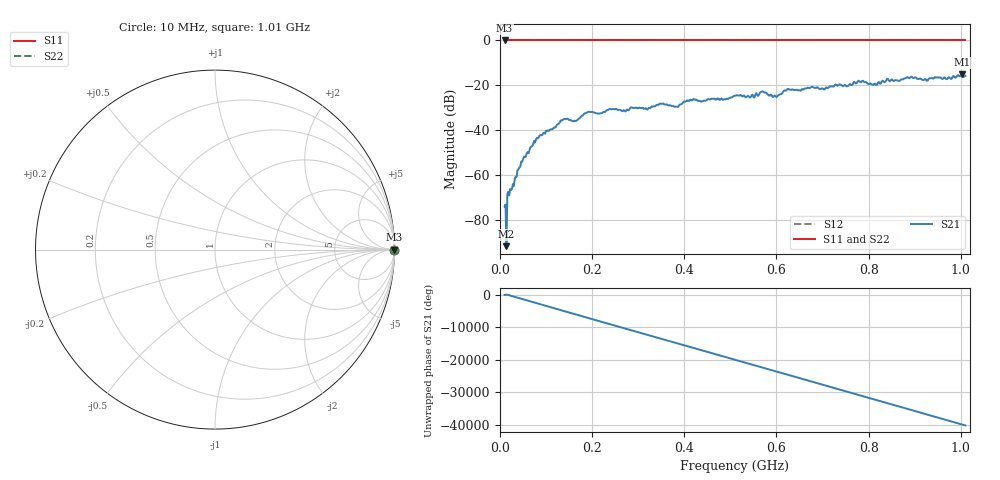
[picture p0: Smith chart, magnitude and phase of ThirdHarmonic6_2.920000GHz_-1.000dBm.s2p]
! 8/17/2025 8:07:30 AM
! C:\ANRITSUVNA\TEMP\TEMP.S2P
! CHANNEL.1
! TR.MEASUREMENT
! RAW.DATA
! RF.CORRECTION.OFF
! AVERAGING.OFF
! IF.BANDWIDTH: 5KHZ
! SWEEPTYPE:  FREQ.SWEEP(Linear)
! Reference Plane Port Info
! PORT:  PORT1  PORT2
! DISTANCE:  0  m  0  m
! TIME:  0  s  0  s
! PHASE.OFFSET:  0  deg.  0  deg.
! LOSS:  0  dB  0  dB
! REF.LOSS:  0  dB  0  dB
! REF.FREQ:  0  Hz  0  Hz
! Power Info
! POWER:  -20  dBm  -20  dBm
! EFF.POWER:  -20  dBm  -20  dBm
! SOURCE.ATTEN:  0  dB  0  dB
! TEST.ATTEN:  0  dB  0  dB
# GHZ S RI R 50.0
! FREQ.GHZ  S11RE  S11IM  S21RE  S21IM  S12RE  S12IM  S22RE  S22IM
!; PortSelection: Port_12
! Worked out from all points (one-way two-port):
!   501 points, 10 MHz to 1.01 GHz, reference 50 ohm
!   highest |S21| = -15.06 dB at 1.002 GHz (marker M1); lowest = -91.9 dB at 14 MHz (marker M2)
!   lowest |S11| = 0.0 dB at 10 MHz (marker M3)
!   |S11| at or under -10 dB: nowhere
!   |S22| runs from 0.0 to 0.0 dB; largest |S21 - S12| = 1.2
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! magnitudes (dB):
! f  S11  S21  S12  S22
! 10 MHz  0.0  -74.2  0.0  0.0
! 14 MHz  0.0  -91.9  0.0  0.0
! 20 MHz  0.0  -69.3  0.0  0.0
! 42 MHz  0.0  -56.7  0.0  0.0
! 78 MHz  0.0  -44.2  0.0  0.0
! 136 MHz  0.0  -35.5  0.0  0.0
! 162 MHz  0.0  -35.8  0.0  0.0
! 178 MHz  0.0  -33.6  0.0  0.0
! 344 MHz  0.0  -28.7  0.0  0.0
! 382 MHz  0.0  -29.5  0.0  0.0
! 410 MHz  0.0  -27.0  0.0  0.0
! 510 MHz  0.0  -24.7  0.0  0.0
! 548 MHz  0.0  -24.2  0.0  0.0
! 570 MHz  0.0  -22.8  0.0  0.0
! 596 MHz  0.0  -24.6  0.0  0.0
! 622 MHz  0.0  -22.2  0.0  0.0
! 678 MHz  0.0  -20.8  0.0  0.0
! 782 MHz  0.0  -18.6  0.0  0.0
! 814 MHz  0.0  -19.3  0.0  0.0
! 844 MHz  0.0  -17.9  0.0  0.0
! 1.002 GHz  0.0  -15.1  0.0  0.0
! 1.01 GHz  0.0  -15.8  0.0  0.0
